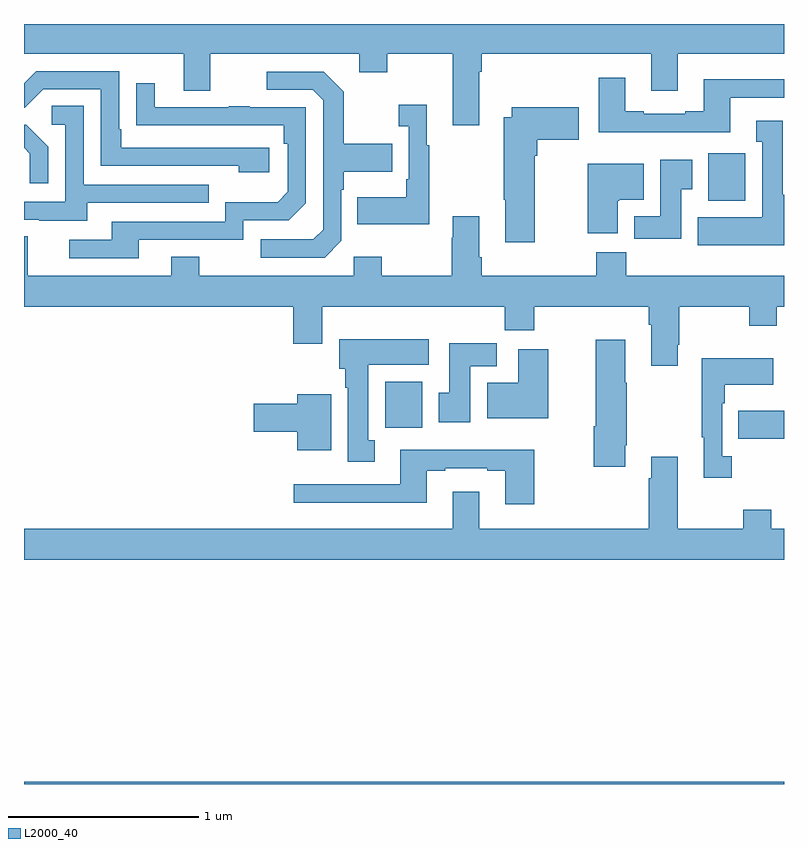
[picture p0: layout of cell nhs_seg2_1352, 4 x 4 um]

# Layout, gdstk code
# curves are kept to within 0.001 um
import gdstk
lib = gdstk.Library(unit=1e-6, precision=1e-09)
def R(c, l, rs):  # rectangles x0, y0, x1, y1
    for r in rs: c.add(gdstk.rectangle(r[:2], r[2:], *l))
def P(c, l, *ps):  # polygons
    for p in ps: c.add(gdstk.Polygon(p, *l))
L2000_40 = (2000, 40)

nhs_seg2_1352 = lib.new_cell('nhs_seg2_1352')
R(nhs_seg2_1352, L2000_40, [(181,635.8,185,635.812), (184.759,637.618,185,637.765), (182.9,637.676,183.097,637.918), (184.601,638.87,184.797,639.121)])
P(nhs_seg2_1352, L2000_40, [(183.397,639.548),(183.41,639.548),(183.41,639.644),(184.301,639.644),(184.301,639.45),(184.441,639.45),(184.441,639.644),(185,639.644),(185,639.8),(181,639.8),(181,639.644),(181.841,639.644),(181.841,639.45),(181.981,639.45),(181.981,639.644),(182.765,639.644),(182.765,639.545),(182.913,639.545),(182.913,639.644),(183.257,639.644),(183.257,639.267),(183.397,639.267)],
  [(182.29,639.15),(181.513,639.15),(181.513,639.247),(181.5,639.247),(181.5,639.552),(181.065,639.552),(181,639.487),(181,639.36),(181.005,639.36),(181.101,639.456),(181.404,639.456),(181.404,639.054),(182.129,639.054),(182.129,639.02),(182.29,639.02)],
  [(182.67,638.658),(182.67,638.927),(182.683,638.927),(182.683,639.023),(182.939,639.023),(182.939,639.171),(182.683,639.171),(182.683,639.443),(182.577,639.549),(182.277,639.549),(182.277,639.453),(182.52,639.453),(182.574,639.399),(182.574,638.718),(182.523,638.667),(182.247,638.667),(182.247,638.571),(182.583,638.571)],
  [(184.717,639.411),(185,639.411),(185,639.508),(184.577,639.508),(184.577,639.34),(184.481,639.34),(184.481,639.327),(184.261,639.327),(184.261,639.34),(184.165,639.34),(184.165,639.517),(184.025,639.517),(184.025,639.23),(184.717,639.23)],
  [(181.603,638.664),(182.154,638.664),(182.154,638.766),(182.394,638.766),(182.484,638.856),(182.484,639.363),(182.189,639.363),(182.189,639.368),(182.077,639.368),(182.077,639.363),(181.687,639.363),(181.687,639.487),(181.591,639.487),(181.591,639.268),(182.368,639.267),(182.368,639.17),(182.388,639.17),(182.388,638.916),(182.335,638.863),(182.058,638.863),(182.058,638.76),(181.463,638.76),(181.463,638.664),(181.239,638.664),(181.239,638.568),(181.603,638.568)],
  [(183.133,639.163),(183.121,639.163),(183.121,639.376),(182.973,639.376),(182.973,639.263),(183.024,639.263),(183.024,638.983),(183.012,638.983),(183.012,638.887),(182.755,638.887),(182.755,638.747),(183.133,638.747)],
  [(181.333,638.859),(181.973,638.859),(181.973,638.955),(181.314,638.955),(181.314,639.371),(181.146,639.371),(181.146,639.27),(181.218,639.27),(181.218,638.865),(181,638.865),(181,638.769),(181.079,638.769),(181.079,638.765),(181.333,638.765)],
  [(183.688,639.107),(183.701,639.107),(183.701,639.191),(183.919,639.191),(183.919,639.361),(183.566,639.361),(183.566,639.31),(183.526,639.31),(183.526,638.875),(183.533,638.875),(183.533,638.652),(183.688,638.652)],
  [(185,638.902),(184.993,638.902),(184.993,639.292),(184.853,639.292),(184.853,639.179),(184.886,639.179),(184.886,638.782),(184.547,638.782),(184.547,638.636),(185,638.636)],
  [(181.128,639.154),(181.012,639.27),(181,639.27),(181,639.148),(181.031,639.117),(181.031,638.961),(181.128,638.961)],
  [(184.459,638.929),(184.516,638.929),(184.516,639.085),(184.349,639.085),(184.349,638.788),(184.211,638.788),(184.211,638.67),(184.459,638.67)],
  [(184.126,638.87),(184.132,638.87),(184.132,638.876),(184.261,638.876),(184.261,639.064),(183.968,639.064),(183.968,638.7),(184.126,638.7)],
  [(184.441,638.113),(184.449,638.113),(184.449,638.312),(184.816,638.312),(184.816,638.213),(184.962,638.213),(184.962,638.312),(185,638.312),(185,638.476),(184.169,638.476),(184.169,638.6),(184.013,638.6),(184.013,638.476),(183.41,638.476),(183.41,638.572),(183.397,638.572),(183.397,638.788),(183.257,638.788),(183.257,638.675),(183.25,638.675),(183.25,638.476),(182.883,638.476),(182.883,638.575),(182.736,638.575),(182.736,638.476),(181.923,638.476),(181.923,638.575),(181.775,638.575),(181.775,638.476),(181.021,638.476),(181.021,638.684),(181,638.684),(181,638.312),(182.417,638.312),(182.417,638.118),(182.569,638.118),(182.569,638.312),(183.529,638.312),(183.529,638.188),(183.686,638.188),(183.686,638.312),(184.289,638.312),(184.289,638.216),(184.301,638.216),(184.301,638.001),(184.441,638.001)],
  [(182.845,637.61),(182.812,637.61),(182.812,638.006),(183.13,638.006),(183.13,638.14),(182.66,638.14),(182.66,637.986),(182.69,637.986),(182.69,637.886),(182.705,637.886),(182.705,637.497),(182.845,637.497)],
  [(184.165,637.582),(184.173,637.582),(184.173,637.913),(184.165,637.913),(184.165,638.137),(184.01,638.137),(184.01,637.682),(183.998,637.682),(183.998,637.47),(184.165,637.47)],
  [(183.349,638),(183.488,638),(183.488,638.119),(183.239,638.119),(183.239,637.86),(183.182,637.86),(183.182,637.704),(183.349,637.704)],
  [(183.76,638.089),(183.602,638.089),(183.602,637.912),(183.437,637.912),(183.437,637.724),(183.76,637.724)],
  [(184.726,637.526),(184.674,637.526),(184.674,637.805),(184.687,637.805),(184.687,637.901),(184.943,637.901),(184.943,638.041),(184.566,638.041),(184.566,637.625),(184.577,637.625),(184.577,637.413),(184.726,637.413)],
  [(182.617,637.852),(182.438,637.852),(182.438,637.802),(182.208,637.802),(182.208,637.655),(182.438,637.655),(182.438,637.556),(182.617,637.556)],
  [(183.686,637.558),(182.981,637.558),(182.981,637.377),(182.421,637.377),(182.421,637.28),(183.121,637.28),(183.121,637.449),(183.217,637.449),(183.217,637.461),(183.437,637.461),(183.437,637.449),(183.533,637.449),(183.533,637.272),(183.686,637.272)],
  [(185,637.144),(184.933,637.144),(184.933,637.243),(184.786,637.243),(184.786,637.144),(184.441,637.144),(184.441,637.522),(184.301,637.522),(184.301,637.409),(184.289,637.409),(184.289,637.144),(183.397,637.144),(183.397,637.339),(183.257,637.339),(183.257,637.144),(181,637.144),(181,636.98),(185,636.98)])

lib.write_gds('nhs_seg2_1352.gds')
